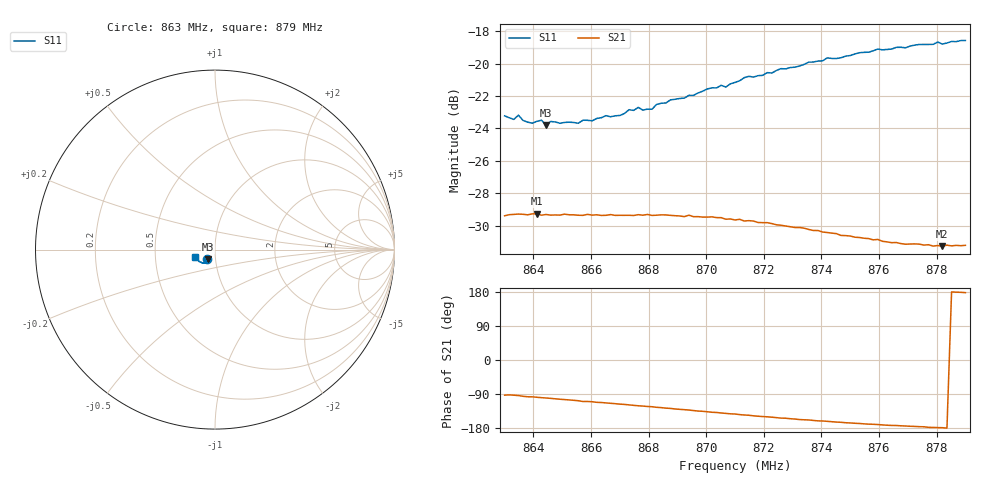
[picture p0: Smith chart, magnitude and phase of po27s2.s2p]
# HZ S RI R 50
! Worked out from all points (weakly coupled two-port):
!   101 points, 863 MHz to 879 MHz, reference 50 ohm
!   highest |S21| = -29.27 dB at 864.12 MHz (marker M1); lowest = -31.3 dB at 878.2 MHz (marker M2)
!   lowest |S11| = -23.8 dB at 864.44 MHz (marker M3), VSWR 1.14, Z = 46.2 - j4.91 ohm
!   |S11| at or under -10 dB: start of sweep to end of sweep
!   S12 and S22 are empty: the file has one direction only
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8.63e8  -0.0437 -0.0534  -0.00165 -0.0339  0 0  0 0
8.6332e8  -0.0419 -0.0526  -0.00172 -0.0342  0 0  0 0
8.6348e8  -0.0443 -0.0533  -0.00231 -0.0343  0 0  0 0
8.638e8  -0.0399 -0.0525  -0.00418 -0.0339  0 0  0 0
8.6412e8  -0.0389 -0.0537  -0.00498 -0.034  0 0  0 0
8.6428e8  -0.0383 -0.0548  -0.00558 -0.0336  0 0  0 0
8.6444e8  -0.037 -0.053  -0.00608 -0.0337  0 0  0 0
8.646e8  -0.0378 -0.0545  -0.00663 -0.0334  0 0  0 0
8.6556e8  -0.0354 -0.0551  -0.0102 -0.0325  0 0  0 0
8.6572e8  -0.0345 -0.0573  -0.0114 -0.0321  0 0  0 0
8.67e8  -0.0343 -0.0601  -0.0152 -0.0305  0 0  0 0
8.6764e8  -0.0355 -0.0641  -0.0175 -0.0294  0 0  0 0
8.6812e8  -0.0349 -0.0633  -0.0187 -0.0284  0 0  0 0
8.6844e8  -0.036 -0.0663  -0.0199 -0.0277  0 0  0 0
8.71e8  -0.0473 -0.0735  -0.0261 -0.0201  0 0  0 0
8.7148e8  -0.0514 -0.0755  -0.0271 -0.0184  0 0  0 0
8.7372e8  -0.0678 -0.075  -0.0286 -0.0107  0 0  0 0
8.7596e8  -0.0879 -0.0676  -0.0283 -0.00485  0 0  0 0
8.7644e8  -0.0913 -0.0629  -0.0278 -0.00358  0 0  0 0
8.7804e8  -0.1049 -0.0508  -0.0274 -0.000764  0 0  0 0
8.782e8  -0.1045 -0.0476  -0.0273 -0.000642  0 0  0 0
8.79e8  -0.111 -0.0396  -0.0275 0.0011  0 0  0 0
